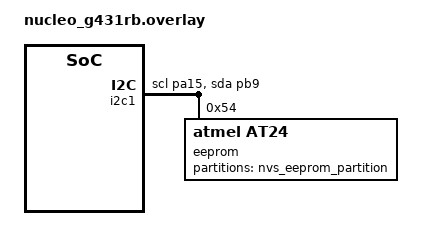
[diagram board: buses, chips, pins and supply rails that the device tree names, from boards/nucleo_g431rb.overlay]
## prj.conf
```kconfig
CONFIG_FLASH=y
CONFIG_FLASH_PAGE_LAYOUT=y

CONFIG_NVS=y
CONFIG_LOG=y
CONFIG_LOG_BACKEND_UART=y
CONFIG_NVS_LOG_LEVEL_DBG=y
CONFIG_REBOOT=y
CONFIG_MPU_ALLOW_FLASH_WRITE=y

CONFIG_NO_OPTIMIZATIONS=n

# I2C for EEPROM
CONFIG_EEPROM=y
CONFIG_I2C=y
CONFIG_I2C_STM32=y
CONFIG_EEPROM_AT24=y

CONFIG_MAIN_STACK_SIZE=4096
```

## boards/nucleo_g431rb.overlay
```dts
/*
 * Copyright (c) 2021 Baumer Group
 */
 &flash0 {
	partitions {
			compatible = "fixed-partitions";
			#address-cells = <1>;
			#size-cells = <1>;
			mem_partition_1: partition@19000 {
				compatible = "baumer,mem-flash";
				label = "mem_partition_1";
				reg = <0x19000 0x1800>;
			};
	};
};

&i2c1 {
	status = "okay";
	pinctrl-0 = <&i2c1_scl_pa15 &i2c1_sda_pb9>;
	i2c_eeprom: eeprom@54 {
		compatible = "atmel,at24";
		reg = <0x54>;
		label = "eeprom";
		size = <262144>;
		pagesize = <256>;
		address-width = <16>;
		timeout = <10>;
		partitions {
			#address-cells = <1>;
			#size-cells = <1>;
			nvs_eeprom_partition: partition@0 {
				compatible = "baumer,mem-eeprom";
				label = "nvs_eeprom_partition";
				reg = <0x0 0x1800>;
			};
		};
	};
};
```

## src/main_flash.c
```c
/*
 * NVS Sample for Zephyr using high level API, the sample illustrates the usage
 * of NVS for storing data of different kind (strings, binary blobs, unsigned
 * 32 bit integer) and also how to read them back from flash. The reading of
 * data is illustrated for both a basic read (latest added value) as well as
 * reading back the history of data (previously added values). Next to reading
 * and writing data it also shows how data can be deleted from flash.
 *
 * The sample stores the following items:
 * 1. A string representing an IP-address: stored at id=1, data="192.168.1.1"
 * 2. A binary blob representing a key: stored at id=2, data=FF FE FD FC FB FA
 *    F9 F8
 * 3. A reboot counter (32bit): stored at id=3, data=reboot_counter
 * 4. A string: stored at id=4, data="DATA" (used to illustrate deletion of
 * items)
 *
 * At first boot the sample checks if the data is available in flash and adds
 * the items if they are not in flash.
 *
 * Every reboot increases the values of the reboot_counter and updates it in
 * flash.
 *
 * At the 10th reboot the string item with id=4 is deleted (or marked for
 * deletion).
 *
 * At the 11th reboot the string item with id=4 can no longer be read with the
 * basic nvs_read() function as it has been deleted. It is possible to read the
 * value with nvs_read_hist()
 *
 * At the 78th reboot the first sector is full and a new sector is taken into
 * use. The data with id=1, id=2 and id=3 is copied to the new sector. As a
 * result of this the history of the reboot_counter will be removed but the
 * latest values of address, key and reboot_counter is kept.
 *
 * Copyright (c) 2018 Laczen
 *
 * SPDX-License-Identifier: Apache-2.0
 */


#include <zephyr/zephyr.h>
#include <zephyr/sys/reboot.h>
#include <zephyr/device.h>
#include <string.h>
#include <zephyr/drivers/flash.h>
#include <zephyr/storage/flash_map.h>
#include <zephyr/fs/nvs.h>

static struct nvs_fs fs;

#define STORAGE_NODE_LABEL mem_partition_1

/* 1000 msec = 1 sec */
#define SLEEP_TIME      100
/* maximum reboot counts, make high enough to trigger sector change (buffer */
/* rotation). */
#define MAX_REBOOT 400

#define ADDRESS_ID 1
#define KEY_ID 2
#define RBT_CNT_ID 3
#define STRING_ID 4
#define LONG_ID 5

static const struct nvs_storage_operations flash_operations = {
	.write = flash_write,
	.read = flash_read,
	.erase = flash_erase
};

void main(void)
{
	int rc = 0, cnt = 0, cnt_his = 0;
	char buf[16];
	uint8_t key[8], longarray[128];
	uint32_t reboot_counter = 0U, reboot_counter_his;
	struct flash_pages_info info;

	/* define the nvs file system by settings with:
	 *	sector_size equal to the pagesize,
	 *	3 sectors
	 *	starting at FLASH_AREA_OFFSET(storage)
	 */
	fs.storage_device = FLASH_AREA_DEVICE(STORAGE_NODE_LABEL);
	if (!device_is_ready(fs.storage_device)) {
		printk("Flash device %s is not ready\n", fs.storage_device->name);
		return;
	}
	fs.offset = FLASH_AREA_OFFSET(STORAGE_NODE_LABEL);
	rc = flash_get_page_info_by_offs(fs.storage_device, fs.offset, &info);
	if (rc) {
		printk("Unable to get page info\n");
		return;
	}
	fs.sector_size = info.size;
	fs.sector_count = 3U;

	fs.storage_operations = &flash_operations;

	rc = nvs_mount(&fs);
	if (rc) {
		printk("Flash Init failed\n");
		return;
	}

	/* ADDRESS_ID is used to store an address, lets see if we can
	 * read it from flash, since we don't know the size read the
	 * maximum possible
	 */
	rc = nvs_read(&fs, ADDRESS_ID, &buf, sizeof(buf));
	if (rc > 0) { /* item was found, show it */
		printk("Id: %d, Address: %s\n", ADDRESS_ID, buf);
	} else   {/* item was not found, add it */
		strcpy(buf, "192.168.1.1");
		printk("No address found, adding %s at id %d\n", buf,
		       ADDRESS_ID);
		(void)nvs_write(&fs, ADDRESS_ID, &buf, strlen(buf)+1);
	}
	/* KEY_ID is used to store a key, lets see if we can read it from flash
	 */
	rc = nvs_read(&fs, KEY_ID, &key, sizeof(key));
	if (rc > 0) { /* item was found, show it */
		printk("Id: %d, Key: ", KEY_ID);
		for (int n = 0; n < 8; n++) {
			printk("%x ", key[n]);
		}
		printk("\n");
	} else   {/* item was not found, add it */
		printk("No key found, adding it at id %d\n", KEY_ID);
		key[0] = 0xFF;
		key[1] = 0xFE;
		key[2] = 0xFD;
		key[3] = 0xFC;
		key[4] = 0xFB;
		key[5] = 0xFA;
		key[6] = 0xF9;
		key[7] = 0xF8;
		(void)nvs_write(&fs, KEY_ID, &key, sizeof(key));
	}
	/* RBT_CNT_ID is used to store the reboot counter, lets see
	 * if we can read it from flash
	 */
	rc = nvs_read(&fs, RBT_CNT_ID, &reboot_counter, sizeof(reboot_counter));
	if (rc > 0) { /* item was found, show it */
		printk("Id: %d, Reboot_counter: %d\n",
			RBT_CNT_ID, reboot_counter);
	} else   {/* item was not found, add it */
		printk("No Reboot counter found, adding it at id %d\n",
		       RBT_CNT_ID);
		(void)nvs_write(&fs, RBT_CNT_ID, &reboot_counter,
			  sizeof(reboot_counter));
	}
	/* STRING_ID is used to store data that will be deleted,lets see
	 * if we can read it from flash, since we don't know the size read the
	 * maximum possible
	 */
	rc = nvs_read(&fs, STRING_ID, &buf, sizeof(buf));
	if (rc > 0) {
		/* item was found, show it */
		printk("Id: %d, Data: %s\n",
			STRING_ID, buf);
		/* remove the item if reboot_counter = 10 */
		if (reboot_counter == 10U) {
			(void)nvs_delete(&fs, STRING_ID);
		}
	} else   {
		/* entry was not found, add it if reboot_counter = 0*/
		if (reboot_counter == 0U) {
			printk("Id: %d not found, adding it\n",
			STRING_ID);
			strcpy(buf, "DATA");
			(void)nvs_write(&fs, STRING_ID, &buf, strlen(buf) + 1);
		}
	}

	/* LONG_ID is used to store a larger dataset ,lets see if we can read
	 * it from flash
	 */
	rc = nvs_read(&fs, LONG_ID, &longarray, sizeof(longarray));
	if (rc > 0) {
		/* item was found, show it */
		printk("Id: %d, Longarray: ", LONG_ID);
		for (int n = 0; n < sizeof(longarray); n++) {
			printk("%x ", longarray[n]);
		}
		printk("\n");
	} else   {
		/* entry was not found, add it if reboot_counter = 0*/
		if (reboot_counter == 0U) {
			printk("Longarray not found, adding it as id %d\n",
			       LONG_ID);
			for (int n = 0; n < sizeof(longarray); n++) {
				longarray[n] = n;
			}
			(void)nvs_write(
				&fs, LONG_ID, &longarray, sizeof(longarray));
		}
	}

	cnt = 5;
	while (1) {
		k_msleep(SLEEP_TIME);
		if (reboot_counter < MAX_REBOOT) {
			if (cnt == 5) {
				/* print some history information about
				 * the reboot counter
				 * Check the counter history in flash
				 */
				printk("Reboot counter history: ");
				while (1) {
					rc = nvs_read_hist(
						&fs, RBT_CNT_ID,
						&reboot_counter_his,
						sizeof(reboot_counter_his),
						cnt_his);
					if (rc < 0) {
						break;
					}
					printk("...%d", reboot_counter_his);
					cnt_his++;
				}
				if (cnt_his == 0) {
					printk("\n Error, no Reboot counter");
				} else {
					printk("\nOldest reboot counter: %d",
					       reboot_counter_his);
				}
				printk("\nRebooting in ");
			}
			printk("...%d", cnt);
			cnt--;
			if (cnt == 0) {
				printk("\n");
				reboot_counter++;
				(void)nvs_write(
					&fs, RBT_CNT_ID, &reboot_counter,
					sizeof(reboot_counter));
				if (reboot_counter == MAX_REBOOT) {
					printk("Doing last reboot...\n");
				}
				sys_reboot(0);
			}
		} else {
			printk("Reboot counter reached max value.\n");
			printk("Reset to 0 and exit test.\n");
			reboot_counter = 0U;
			(void)nvs_write(&fs, RBT_CNT_ID, &reboot_counter,
			  sizeof(reboot_counter));
			break;
		}
	}
}
```
